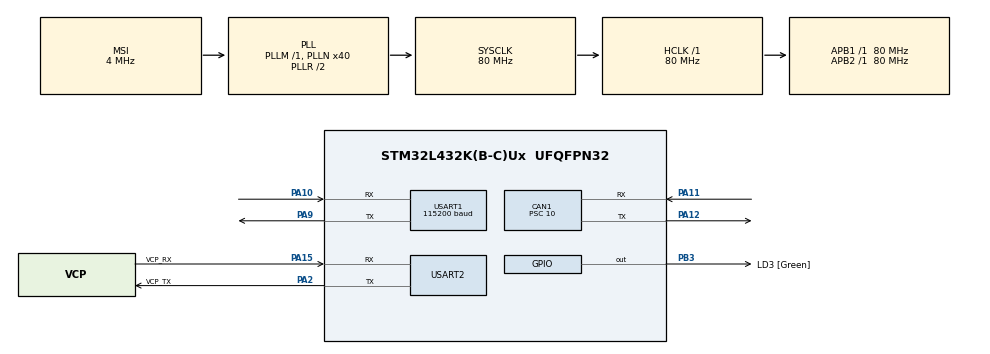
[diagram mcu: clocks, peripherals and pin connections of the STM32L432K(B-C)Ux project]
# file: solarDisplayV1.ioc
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CAN1.ABOM=ENABLE
CAN1.BS1=CAN_BS1_13TQ
CAN1.BS2=CAN_BS2_2TQ
CAN1.CalculateBaudRate=500000
CAN1.CalculateTimeBit=2000
CAN1.CalculateTimeQuantum=125.0
CAN1.NART=ENABLE
CAN1.Prescaler=10
Mcu.Family=STM32L4
Mcu.Name=STM32L432K(B-C)Ux
Mcu.Package=UFQFPN32
NVIC.CAN1_RX0_IRQn=true\:0\:0\:false\:false\:true\:true\:true\:true
NVIC.PriorityGroup=NVIC_PRIORITYGROUP_4
NVIC.USART2_IRQn=true\:0\:0\:false\:false\:true\:true\:true\:true
PA0.GPIO_Label=MCO [High speed clock in]
PA0.Mode=HSE-External-Clock-Source-for-LittleOrca
PA0.Signal=RCC_CK_IN
PA10.Mode=Asynchronous
PA10.Signal=USART1_RX
PA11.Mode=CAN_Activate
PA11.Signal=CAN1_RX
PA12.Mode=CAN_Activate
PA12.Signal=CAN1_TX
PA13\ (JTMS-SWDIO).GPIO_Label=SWDIO
PA13\ (JTMS-SWDIO).Mode=Serial_Wire
PA13\ (JTMS-SWDIO).Signal=SYS_JTMS-SWDIO
PA14\ (JTCK-SWCLK).GPIO_Label=SWCLK
PA14\ (JTCK-SWCLK).Mode=Serial_Wire
PA14\ (JTCK-SWCLK).Signal=SYS_JTCK-SWCLK
PA15\ (JTDI).GPIO_Label=VCP_RX
PA15\ (JTDI).Mode=Asynchronous
PA15\ (JTDI).Signal=USART2_RX
PA2.GPIO_Label=VCP_TX
PA2.Mode=Asynchronous
PA2.Signal=USART2_TX
PA9.Mode=Asynchronous
PA9.Signal=USART1_TX
PB3\ (JTDO-TRACESWO).GPIO_Label=LD3 [Green]
PB3\ (JTDO-TRACESWO).Signal=GPIO_Output
PC14-OSC32_IN\ (PC14).Mode=LSE-External-Oscillator
PC14-OSC32_IN\ (PC14).Signal=RCC_OSC32_IN
PC15-OSC32_OUT\ (PC15).Mode=LSE-External-Oscillator
PC15-OSC32_OUT\ (PC15).Signal=RCC_OSC32_OUT
ProjectManager.HeapSize=0x200
ProjectManager.StackSize=0x400
ProjectManager.TargetToolchain=CMake
RCC.AHBFreq_Value=80000000
RCC.APB1Freq_Value=80000000
RCC.APB1TimFreq_Value=80000000
RCC.APB2Freq_Value=80000000
RCC.APB2TimFreq_Value=80000000
RCC.CortexFreq_Value=80000000
RCC.HCLKFreq_Value=80000000
RCC.HSE_VALUE=8000000
RCC.HSI16_VALUE=16000000
RCC.HSI48_VALUE=48000000
RCC.HSI_VALUE=16000000
RCC.MSI_VALUE=4000000
RCC.PLLMUL=RCC_PLLMUL_4
RCC.PLLN=40
RCC.SYSCLKFreq_VALUE=80000000
RCC.SYSCLKSource=RCC_SYSCLKSOURCE_PLLCLK
RCC.VCOOutputFreq_Value=160000000
USART1.BaudRate=115200
USART1.VirtualMode-Asynchronous=VM_ASYNC
USART2.VirtualMode-Asynchronous=VM_ASYNC
board=NUCLEO-L432KC

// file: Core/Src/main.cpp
/* USER CODE BEGIN Header */
/**
 * @file           : main.cpp
 * @brief          : Production Solar Dashboard - V7 (huart2 Debug Restored + FIFO Drain)
 */
/* USER CODE END Header */

#include "main.h"
#include "orion2_can_comms.hpp"
#include "stm32l4xx_hal_can.h"
#include "ws_can_comms.hpp"
#include <stdarg.h>
#include <stdio.h>
#include <string.h>
#include <cmath>

CAN_HandleTypeDef hcan1;
UART_HandleTypeDef huart1;
UART_HandleTypeDef huart2;

/* USER CODE BEGIN PV */
WaveSculptor ws(&hcan1);
Orion2 orion(&hcan1);

// The WaveSculptor internally calculates Vehicle Velocity in m/s.
// 1 m/s = 2.23694 Miles Per Hour
const float MS_TO_MPH_CONVERSION = 2.23694f;

// Orion's coulomb-counted SOC was corrupted by a low-voltage BPS test, so SOC
// is estimated from pack open-circuit voltage instead until it's recalibrated.
const float PACK_VOLTAGE_FULL = 134.4f;  // 100% SOC
const float PACK_VOLTAGE_EMPTY = 83.0f;  // 0% SOC

float estimateSOCFromVoltage(float openCircuitVoltage) {
  float soc = (openCircuitVoltage - PACK_VOLTAGE_EMPTY) / (PACK_VOLTAGE_FULL - PACK_VOLTAGE_EMPTY) * 100.0f;
  if (soc < 0.0f) soc = 0.0f;
  if (soc > 100.0f) soc = 100.0f;
  return soc;
}

// Rewritten Moving Average to completely eliminate floating-point drift
template <uint8_t SIZE> class MovingAverage {
private:
  float buffer[SIZE] = {0};
  uint8_t index = 0;
public:
  void add(float val) {
    if (std::isnan(val) || std::isinf(val)) return;
    buffer[index] = val;
    index = (index + 1) % SIZE;
  }
  float get() {
    float sum = 0;
    for(int i = 0; i < SIZE; i++) sum += buffer[i];
    return sum / SIZE;
  }
};

MovingAverage<10> avgSOC, avgSpeed, avgBattTemp, avgMCTemp, avgMotorTemp, avgPowerIn, avgPowerOut;

// Terminal variables restored
uint8_t uartRxByte;
char uartRxBuffer[100];
uint8_t uartRxIndex = 0;
/* USER CODE END PV */

/* Function Prototypes */
void SystemClock_Config(void);
static void MX_GPIO_Init(void);
static void MX_USART2_UART_Init(void);
static void MX_CAN1_Init(void);
static void MX_USART1_UART_Init(void);
void UART_Printf(const char *fmt, ...);
void processTerminalCommand();
void sendGenieObject(uint8_t object, uint8_t index, uint16_t data);

/* USER CODE BEGIN 0 */

// Custom UART Print Wrapper for Terminal Debugging
void UART_Printf(const char *fmt, ...) {
  char buffer[128];
  va_list args;
  va_start(args, fmt);
  vsnprintf(buffer, sizeof(buffer), fmt, args);
  va_end(args);
  HAL_UART_Transmit(&huart2, (uint8_t *)buffer, strlen(buffer), 100);
}

// Allows manual CAN testing via Serial Monitor
void processTerminalCommand() {
  unsigned int id = 0; unsigned int d[8] = {0};
  if (strncmp(uartRxBuffer, "CAN ", 4) == 0) {
    int parsedArgs = sscanf(uartRxBuffer + 4, "%x %x %x %x %x %x %x %x %x", &id, &d[0], &d[1], &d[2], &d[3], &d[4], &d[5], &d[6], &d[7]);
    if (parsedArgs == 9) {
      uint8_t rxData[8];
      for (int i = 0; i < 8; i++) rxData[i] = static_cast<uint8_t>(d[i]);
      if (orion.isOrion2Message(id)) {
        orion.parseMeasurement(static_cast<Orion2::MessageID>((id == 0x36) ? 0x36 : (id - orion.getBaseAddr())), rxData);
      } else if (ws.isWaveSculptorMessage(id)) {
        ws.parseMeasurement(static_cast<WaveSculptor::MessageID>(id - ws.getBaseAddr()), rxData);
      }
    }
  }
}

// UART Receive Interrupt
void HAL_UART_RxCpltCallback(UART_HandleTypeDef *huart) {
  if (huart->Instance == USART2) {
    if (uartRxByte == '\r' || uartRxByte == '\n') {
      uartRxBuffer[uartRxIndex] = '\0';
      if (uartRxIndex > 0) processTerminalCommand();
      uartRxIndex = 0;
    } else if (uartRxIndex < sizeof(uartRxBuffer) - 1) {
      uartRxBuffer[uartRxIndex++] = uartRxByte;
    }
    HAL_UART_Receive_IT(&huart2, &uartRxByte, 1);
  }
}

// CAN Hardware Interrupt
void HAL_CAN_RxFifo0MsgPendingCallback(CAN_HandleTypeDef *hcan) {
  CAN_RxHeaderTypeDef rxHeader;
  uint8_t rxData[8];

  // Drain the ENTIRE FIFO to prevent buffer overflows under heavy load
  while (HAL_CAN_GetRxFifoFillLevel(hcan, CAN_RX_FIFO0) > 0) {
    if (HAL_CAN_GetRxMessage(hcan, CAN_RX_FIFO0, &rxHeader, rxData) == HAL_OK) {
      uint32_t id = rxHeader.StdId;
      if (orion.isOrion2Message(id)) {
        orion.parseMeasurement(static_cast<Orion2::MessageID>((id == 0x36) ? 0x36 : (id - orion.getBaseAddr())), rxData);
      } else if (ws.isWaveSculptorMessage(id)) {
        ws.parseMeasurement(static_cast<WaveSculptor::MessageID>(id - ws.getBaseAddr()), rxData);
      }
    }
  }
}

// Display Transmit
void sendGenieObject(uint8_t object, uint8_t index, uint16_t data) {
  uint8_t message[6];
  message[0] = 0x01; message[1] = object; message[2] = index;
  message[3] = (data >> 8) & 0xFF; message[4] = data & 0xFF;
  message[5] = message[0] ^ message[1] ^ message[2] ^ message[3] ^ message[4];
  HAL_UART_Transmit(&huart1, message, 6, 100);
  HAL_Delay(5);
}
/* USER CODE END 0 */

int main(void) {
  HAL_Init();
  SystemClock_Config();

  MX_GPIO_Init();
  MX_USART2_UART_Init();
  MX_CAN1_Init();
  MX_USART1_UART_Init();

  /* USER CODE BEGIN 2 */
  // Pull-up on PA15 to prevent the floating pin interrupt crash
  GPIO_InitTypeDef GPIO_InitStruct = {0};
  GPIO_InitStruct.Pin = GPIO_PIN_15;
  GPIO_InitStruct.Mode = GPIO_MODE_AF_PP;
  GPIO_InitStruct.Pull = GPIO_PULLUP;
  GPIO_InitStruct.Alternate = GPIO_AF3_USART2;
  HAL_GPIO_Init(GPIOA, &GPIO_InitStruct);

  CAN_FilterTypeDef canFilterConfig = {0};
  canFilterConfig.FilterBank = 0;
  canFilterConfig.FilterMode = CAN_FILTERMODE_IDMASK;
  canFilterConfig.FilterScale = CAN_FILTERSCALE_32BIT;
  canFilterConfig.FilterIdHigh = 0x0000;
  canFilterConfig.FilterIdLow = 0x0000;
  canFilterConfig.FilterMaskIdHigh = 0x0000;
  canFilterConfig.FilterMaskIdLow = 0x0000;
  canFilterConfig.FilterFIFOAssignment = CAN_RX_FIFO0;
  canFilterConfig.FilterActivation = ENABLE;
  HAL_CAN_ConfigFilter(&hcan1, &canFilterConfig);

  HAL_CAN_Start(&hcan1);
  HAL_CAN_ActivateNotification(&hcan1, CAN_IT_RX_FIFO0_MSG_PENDING);
  ws.init(&hcan1, 0x400, 0x500);

  HAL_UART_Receive_IT(&huart2, &uartRxByte, 1);

  HAL_Delay(3000); // Give the 4D Display time to boot
  UART_Printf("Dashboard Ready. huart2 Restored.\r\n");

  uint32_t lastSampleTime = 0;
  uint32_t lastDisplayTime = 0;
  /* USER CODE END 2 */

  while (1) {
    uint32_t currentMillis = HAL_GetTick();

    // --- 100 Hz Sampling Loop ---
    if (currentMillis - lastSampleTime >= 10) {
      lastSampleTime = currentMillis;

      avgBattTemp.add(orion.getIntakeTemp());
      avgMCTemp.add(ws.getDSPBoardTemp());
      avgMotorTemp.add(ws.getMotorTemp());

      // Native m/s directly to absolute MPH
      float velocityMPH = fabsf(ws.getVehicleVelocity() * MS_TO_MPH_CONVERSION);
      // Hard clamp incoming CAN errors so the gauge never vanishes
      if (velocityMPH > 99.0f) velocityMPH = 99.0f;
      avgSpeed.add(velocityMPH);

      // BMS Power Calculation
      float bmsVolts = orion.getPackInstVoltage();
      float bmsAmps  = orion.getPackCurrent();
      float bmsPowerWatts = bmsVolts * bmsAmps;

      avgSOC.add(estimateSOCFromVoltage(orion.getPackOpenVoltage()));

      if (bmsAmps >= 0) {
          avgPowerOut.add(fabsf(bmsPowerWatts));
          avgPowerIn.add(0);
      } else {
          avgPowerIn.add(fabsf(bmsPowerWatts));
          avgPowerOut.add(0);
      }
    }

    // --- 10 Hz Display Loop ---
    if (currentMillis - lastDisplayTime >= 100) {
      lastDisplayTime = currentMillis;

      uint16_t dispBattT  = (uint16_t)(avgBattTemp.get() * 10.0f);
      uint16_t dispMCT    = (uint16_t)(avgMCTemp.get() * 10.0f);
      uint16_t dispMotorT = (uint16_t)(avgMotorTemp.get() * 10.0f);

      // Clamp power to 9999 to guarantee a clean 4-digit fit
      uint16_t dispPwrIn  = (uint16_t)fminf(avgPowerIn.get(), 9999.0f);
      uint16_t dispPwrOut = (uint16_t)fminf(avgPowerOut.get(), 9999.0f);
      uint16_t dispSpeed  = (uint16_t)avgSpeed.get();

      sendGenieObject(0x08, 0, dispSpeed);                   // Circular Gauge
      sendGenieObject(0x04, 0, (uint16_t)avgSOC.get());      // Linear Gauge
      sendGenieObject(0x0F, 0, dispBattT);                   // iTextDigits1
      sendGenieObject(0x0F, 1, dispMCT);                     // iTextDigits2
      sendGenieObject(0x0F, 2, dispMotorT);                  // iTextDigits3
      sendGenieObject(0x0F, 3, dispPwrIn);                   // iTextDigits4
      sendGenieObject(0x0F, 4, dispPwrOut);                  // iTextDigits5

      HAL_GPIO_TogglePin(LD3_GPIO_Port, LD3_Pin); // Alive LED
    }
  }
}

/** * Peripheral Inits Below (Standard CubeMX generation)
 */
void SystemClock_Config(void) {
  RCC_OscInitTypeDef RCC_OscInitStruct = {0};
  RCC_ClkInitTypeDef RCC_ClkInitStruct = {0};
  if (HAL_PWREx_ControlVoltageScaling(PWR_REGULATOR_VOLTAGE_SCALE1) != HAL_OK) Error_Handler();
  RCC_OscInitStruct.OscillatorType = RCC_OSCILLATORTYPE_MSI;
  RCC_OscInitStruct.MSIState = RCC_MSI_ON;
  RCC_OscInitStruct.MSICalibrationValue = 0;
  RCC_OscInitStruct.MSIClockRange = RCC_MSIRANGE_6;
  RCC_OscInitStruct.PLL.PLLState = RCC_PLL_ON;
  RCC_OscInitStruct.PLL.PLLSource = RCC_PLLSOURCE_MSI;
  RCC_OscInitStruct.PLL.PLLM = 1;
  RCC_OscInitStruct.PLL.PLLN = 40;
  RCC_OscInitStruct.PLL.PLLP = RCC_PLLP_DIV7;
  RCC_OscInitStruct.PLL.PLLQ = RCC_PLLQ_DIV2;
  RCC_OscInitStruct.PLL.PLLR = RCC_PLLR_DIV2;
  if (HAL_RCC_OscConfig(&RCC_OscInitStruct) != HAL_OK) Error_Handler();
  RCC_ClkInitStruct.ClockType = RCC_CLOCKTYPE_HCLK|RCC_CLOCKTYPE_SYSCLK|RCC_CLOCKTYPE_PCLK1|RCC_CLOCKTYPE_PCLK2;
  RCC_ClkInitStruct.SYSCLKSource = RCC_SYSCLKSOURCE_PLLCLK;
  RCC_ClkInitStruct.AHBCLKDivider = RCC_SYSCLK_DIV1;
  RCC_ClkInitStruct.APB1CLKDivider = RCC_HCLK_DIV1;
  RCC_ClkInitStruct.APB2CLKDivider = RCC_HCLK_DIV1;
  if (HAL_RCC_ClockConfig(&RCC_ClkInitStruct, FLASH_LATENCY_4) != HAL_OK) Error_Handler();
  HAL_RCCEx_EnableMSIPLLMode();
}

static void MX_CAN1_Init(void) {
  hcan1.Instance = CAN1;
  hcan1.Init.Prescaler = 10;
  hcan1.Init.Mode = CAN_MODE_NORMAL;
  hcan1.Init.SyncJumpWidth = CAN_SJW_1TQ;
  hcan1.Init.TimeSeg1 = CAN_BS1_13TQ;
  hcan1.Init.TimeSeg2 = CAN_BS2_2TQ;
  hcan1.Init.TimeTriggeredMode = DISABLE;
  hcan1.Init.AutoBusOff = ENABLE;
  hcan1.Init.AutoWakeUp = DISABLE;
  hcan1.Init.AutoRetransmission = ENABLE;
  hcan1.Init.ReceiveFifoLocked = DISABLE;
  hcan1.Init.TransmitFifoPriority = DISABLE;
  if (HAL_CAN_Init(&hcan1) != HAL_OK) Error_Handler();
}

static void MX_USART1_UART_Init(void) {
  huart1.Instance = USART1;
  huart1.Init.BaudRate = 115200;
  huart1.Init.WordLength = UART_WORDLENGTH_8B;
  huart1.Init.StopBits = UART_STOPBITS_1;
  huart1.Init.Parity = UART_PARITY_NONE;
  huart1.Init.Mode = UART_MODE_TX_RX;
  huart1.Init.HwFlowCtl = UART_HWCONTROL_NONE;
  huart1.Init.OverSampling = UART_OVERSAMPLING_16;
  huart1.Init.OneBitSampling = UART_ONE_BIT_SAMPLE_DISABLE;
  huart1.AdvancedInit.AdvFeatureInit = UART_ADVFEATURE_NO_INIT;
  if (HAL_UART_Init(&huart1) != HAL_OK) Error_Handler();
}

static void MX_USART2_UART_Init(void) {
  huart2.Instance = USART2;
  huart2.Init.BaudRate = 115200;
  huart2.Init.WordLength = UART_WORDLENGTH_8B;
  huart2.Init.StopBits = UART_STOPBITS_1;
  huart2.Init.Parity = UART_PARITY_NONE;
  huart2.Init.Mode = UART_MODE_TX_RX;
  huart2.Init.HwFlowCtl = UART_HWCONTROL_NONE;
  huart2.Init.OverSampling = UART_OVERSAMPLING_16;
  huart2.Init.OneBitSampling = UART_ONE_BIT_SAMPLE_DISABLE;
  huart2.AdvancedInit.AdvFeatureInit = UART_ADVFEATURE_NO_INIT;
  if (HAL_UART_Init(&huart2) != HAL_OK) Error_Handler();
}

static void MX_GPIO_Init(void) {
  GPIO_InitTypeDef GPIO_InitStruct = {0};
  __HAL_RCC_GPIOC_CLK_ENABLE();
  __HAL_RCC_GPIOA_CLK_ENABLE();
  __HAL_RCC_GPIOB_CLK_ENABLE();
  HAL_GPIO_WritePin(LD3_GPIO_Port, LD3_Pin, GPIO_PIN_RESET);
  GPIO_InitStruct.Pin = LD3_Pin;
  GPIO_InitStruct.Mode = GPIO_MODE_OUTPUT_PP;
  GPIO_InitStruct.Pull = GPIO_NOPULL;
  GPIO_InitStruct.Speed = GPIO_SPEED_FREQ_LOW;
  HAL_GPIO_Init(LD3_GPIO_Port, &GPIO_InitStruct);
}

void Error_Handler(void) { __disable_irq(); while (1) {} }
